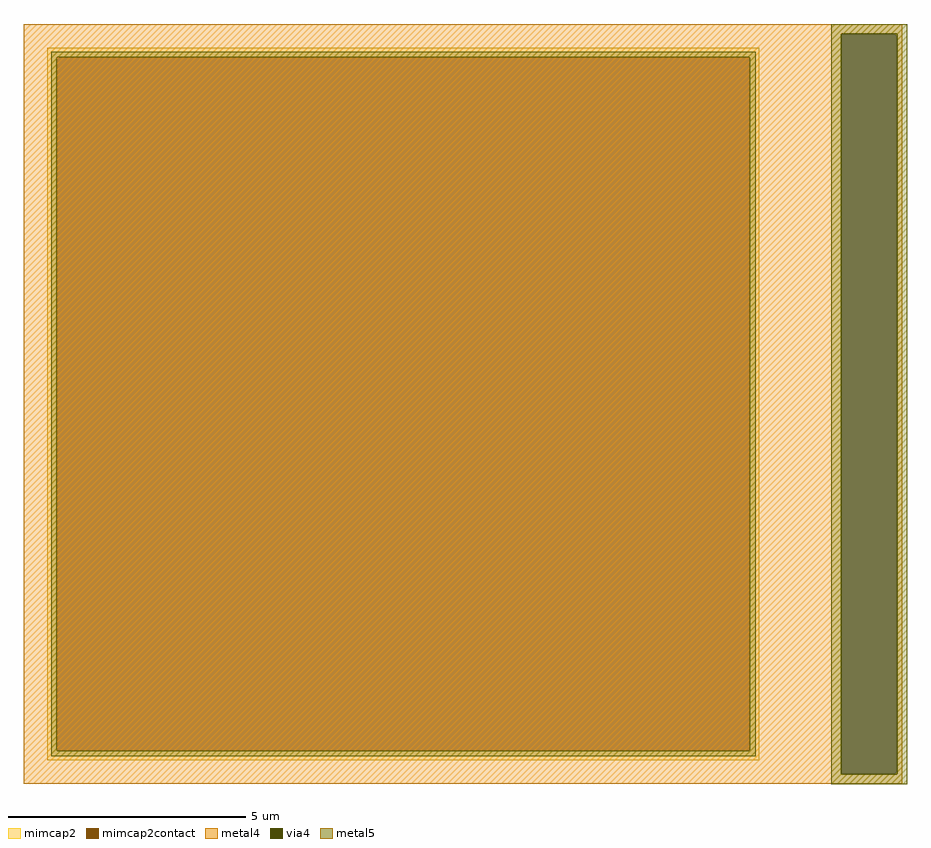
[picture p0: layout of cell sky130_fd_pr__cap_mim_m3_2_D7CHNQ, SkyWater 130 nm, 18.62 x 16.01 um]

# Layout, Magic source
magic
tech sky130A
magscale 1 2
<< metal4 >>
rect -1851 1559 1851 1600
rect -1851 -1559 1595 1559
rect 1831 -1559 1851 1559
rect -1851 -1600 1851 -1559
<< via4 >>
rect 1595 -1559 1831 1559
<< mimcap2 >>
rect -1751 1460 1249 1500
rect -1751 -1460 -1711 1460
rect 1209 -1460 1249 1460
rect -1751 -1500 1249 -1460
<< mimcap2contact >>
rect -1711 -1460 1209 1460
<< metal5 >>
rect 1553 1559 1873 1601
rect -1735 1460 1233 1484
rect -1735 -1460 -1711 1460
rect 1209 -1460 1233 1460
rect -1735 -1484 1233 -1460
rect 1553 -1559 1595 1559
rect 1831 -1559 1873 1559
rect 1553 -1601 1873 -1559
<< properties >>
string FIXED_BBOX -1851 -1600 1349 1600
string gencell sky130_fd_pr__cap_mim_m3_2
string library sky130
string parameters w 15 l 15 val 461.4 carea 2.00 cperi 0.19 nx 1 ny 1 dummy 0 square 0 lmin 2.00 wmin 2.00 lmax 30.0 wmax 30.0 dc 0 bconnect 1 tconnect 1 ccov 100
<< end >>
